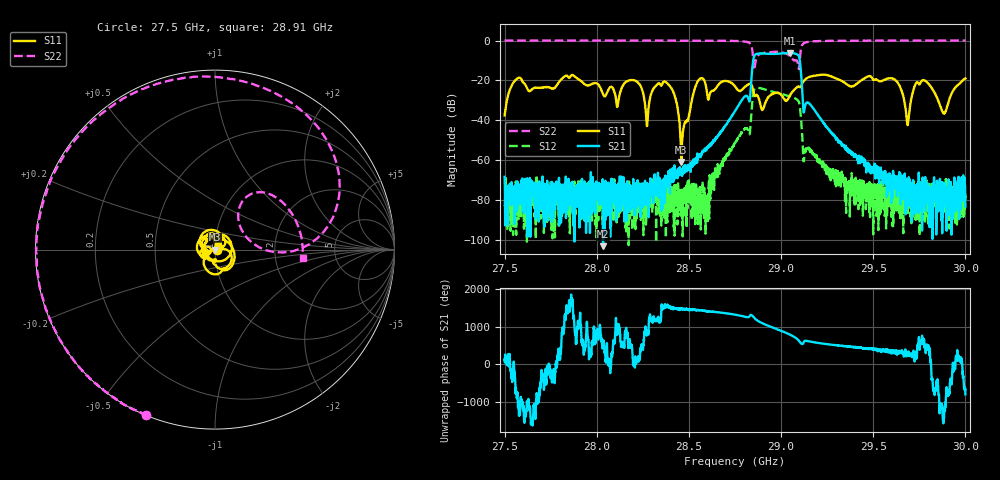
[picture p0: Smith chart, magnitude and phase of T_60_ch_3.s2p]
!Keysight Technologies,N5234A,MY55441357,A.10.47.05
!Date: Sunday, November 19, 2017 17:34:47
!Correction: S11(Full 2 Port(1,2))
!S21(Full 2 Port(1,2))
!S12(Full 2 Port(1,2))
!S22(Full 2 Port(1,2))
!S2P File: Measurements: S11, S21, S12, S22:
# Hz S  dB  R 50
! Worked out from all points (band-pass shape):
!   2501 points, 27.5 GHz to 30 GHz, reference 50 ohm
!   highest |S21| = -6.25 dB at 29.05 GHz (marker M1); lowest = -103.0 dB at 28.03 GHz (marker M2)
!   |S21| within 3 dB of the highest: 28.85 GHz to 29.1 GHz (250 MHz wide, 0.863 % of centre)
!   lowest |S11| = -60.8 dB at 28.46 GHz (marker M3), VSWR 1.00, Z = 50 - j0.0891 ohm
!   |S11| at or under -10 dB: start of sweep to end of sweep
!   |S22| runs from -14.7 to 0.0 dB; largest |S21 - S12| = 0.47
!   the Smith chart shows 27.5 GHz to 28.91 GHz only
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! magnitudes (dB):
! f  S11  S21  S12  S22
! 27.5 GHz  -37.5  -68.3  -83.0  0.0
! 27.57 GHz  -18.8  -76.0  -76.9  0.0
! 27.92 GHz  -20.4  -86.9  -89.4  0.0
! 28.03 GHz  -26.8  -103.0  -75.0  0.0
! 28.21 GHz  -20.1  -77.8  -79.9  0.0
! 28.27 GHz  -42.8  -71.3  -81.5  0.0
! 28.33 GHz  -21.5  -75.9  -76.7  0.0
! 28.41 GHz  -25.4  -70.9  -85.5  0.0
! 28.46 GHz  -60.8  -64.6  -76.0  -0.1
! 28.56 GHz  -19.3  -57.8  -74.0  -0.1
! 28.75 GHz  -23.0  -35.4  -51.4  -0.2
! 28.82 GHz  -21.8  -29.8  -46.4  -1.0
! 28.86 GHz  -27.4  -6.8  -23.7  -9.4
! 29.05 GHz  -27.4  -6.2  -28.0  -7.9
! 29.09 GHz  -23.0  -7.6  -30.4  -13.7
! 29.13 GHz  -19.7  -33.7  -56.2  -1.1
! 29.17 GHz  -17.9  -33.0  -55.1  -0.4
! 29.58 GHz  -18.9  -66.8  -75.4  0.0
! 29.69 GHz  -41.8  -79.1  -75.8  0.0
! 29.73 GHz  -21.0  -76.8  -77.8  0.0
! 29.88 GHz  -36.5  -71.3  -85.3  0.0
! 30 GHz  -19.0  -83.2  -79.8  0.0
